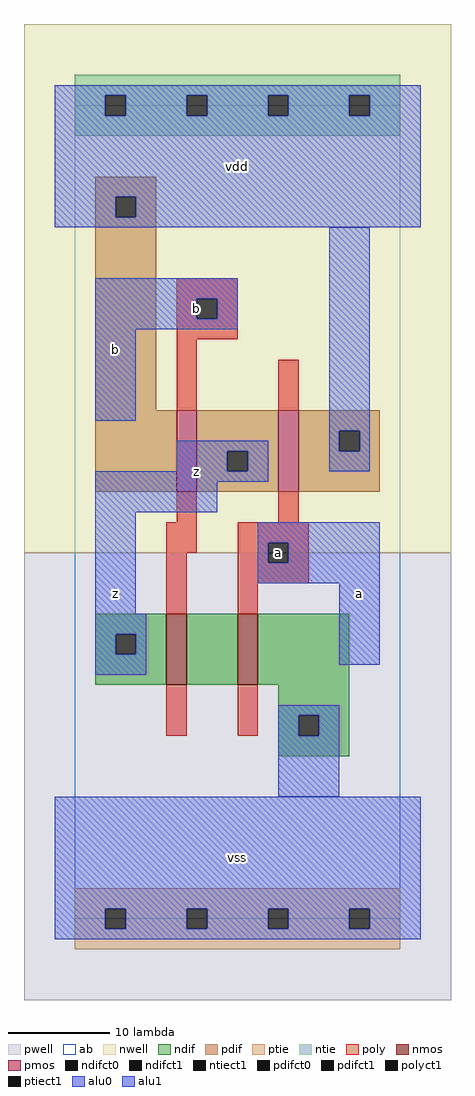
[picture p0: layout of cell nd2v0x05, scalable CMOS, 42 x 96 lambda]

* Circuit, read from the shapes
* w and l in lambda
.subckt nd2v0x05 a b vdd vss z
M1 n1 b z vss nfet w=7 l=2
M2 vss a n1 vss nfet w=7 l=2
M3 z b vdd vdd pfet w=8 l=2
M4 vdd a z vdd pfet w=8 l=2
.ends

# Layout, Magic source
magic
tech scmos
<< ab >>
rect 0 0 32 80
<< nwell >>
rect -5 36 37 88
<< pwell >>
rect -5 -8 37 36
<< poly >>
rect 10 61 16 63
rect 10 59 12 61
rect 14 59 16 61
rect 10 57 16 59
rect 10 50 12 57
rect 20 50 22 55
rect 10 39 12 42
rect 20 39 22 42
rect 9 36 12 39
rect 16 37 23 39
rect 9 30 11 36
rect 16 35 19 37
rect 21 35 23 37
rect 16 33 23 35
rect 16 30 18 33
rect 9 18 11 23
rect 16 18 18 23
<< ndif >>
rect 2 28 9 30
rect 2 26 4 28
rect 6 26 9 28
rect 2 23 9 26
rect 11 23 16 30
rect 18 23 27 30
rect 20 20 27 23
rect 20 18 22 20
rect 24 18 27 20
rect 20 16 27 18
<< pdif >>
rect 2 71 8 73
rect 2 69 4 71
rect 6 69 8 71
rect 2 50 8 69
rect 2 42 10 50
rect 12 46 20 50
rect 12 44 15 46
rect 17 44 20 46
rect 12 42 20 44
rect 22 48 30 50
rect 22 46 26 48
rect 28 46 30 48
rect 22 42 30 46
<< alu1 >>
rect -2 81 34 82
rect -2 79 3 81
rect 5 79 11 81
rect 13 79 19 81
rect 21 79 27 81
rect 29 79 34 81
rect -2 71 34 79
rect -2 69 4 71
rect 6 69 34 71
rect -2 68 34 69
rect 2 61 16 63
rect 2 59 12 61
rect 14 59 16 61
rect 2 58 16 59
rect 2 49 6 58
rect 10 46 19 47
rect 10 44 15 46
rect 17 44 19 46
rect 2 43 19 44
rect 2 40 14 43
rect 2 30 6 40
rect 18 37 30 39
rect 18 35 19 37
rect 21 35 30 37
rect 18 33 30 35
rect 2 28 7 30
rect 2 26 4 28
rect 6 26 7 28
rect 2 24 7 26
rect 26 25 30 33
rect -2 1 34 12
rect -2 -1 3 1
rect 5 -1 11 1
rect 13 -1 19 1
rect 21 -1 27 1
rect 29 -1 34 1
rect -2 -2 34 -1
<< ptie >>
rect 0 1 32 3
rect 0 -1 3 1
rect 5 -1 11 1
rect 13 -1 19 1
rect 21 -1 27 1
rect 29 -1 32 1
rect 0 -3 32 -1
<< ntie >>
rect 0 81 32 83
rect 0 79 3 81
rect 5 79 11 81
rect 13 79 19 81
rect 21 79 27 81
rect 29 79 32 81
rect 0 77 32 79
<< nmos >>
rect 9 23 11 30
rect 16 23 18 30
<< pmos >>
rect 10 42 12 50
rect 20 42 22 50
<< polyct1 >>
rect 12 59 14 61
rect 19 35 21 37
<< ndifct0 >>
rect 22 18 24 20
<< ndifct1 >>
rect 4 26 6 28
<< ntiect1 >>
rect 3 79 5 81
rect 11 79 13 81
rect 19 79 21 81
rect 27 79 29 81
<< ptiect1 >>
rect 3 -1 5 1
rect 11 -1 13 1
rect 19 -1 21 1
rect 27 -1 29 1
<< pdifct0 >>
rect 26 46 28 48
<< pdifct1 >>
rect 4 69 6 71
rect 15 44 17 46
<< alu0 >>
rect 25 48 29 68
rect 25 46 26 48
rect 28 46 29 48
rect 25 44 29 46
rect 20 20 26 21
rect 20 18 22 20
rect 24 18 26 20
rect 20 12 26 18
<< labels >>
rlabel alu1 4 32 4 32 6 z
rlabel alu1 4 56 4 56 6 b
rlabel alu1 12 44 12 44 6 z
rlabel alu1 12 60 12 60 6 b
rlabel alu1 16 6 16 6 6 vss
rlabel polyct1 20 36 20 36 6 a
rlabel alu1 16 74 16 74 6 vdd
rlabel alu1 28 32 28 32 6 a
<< end >>
